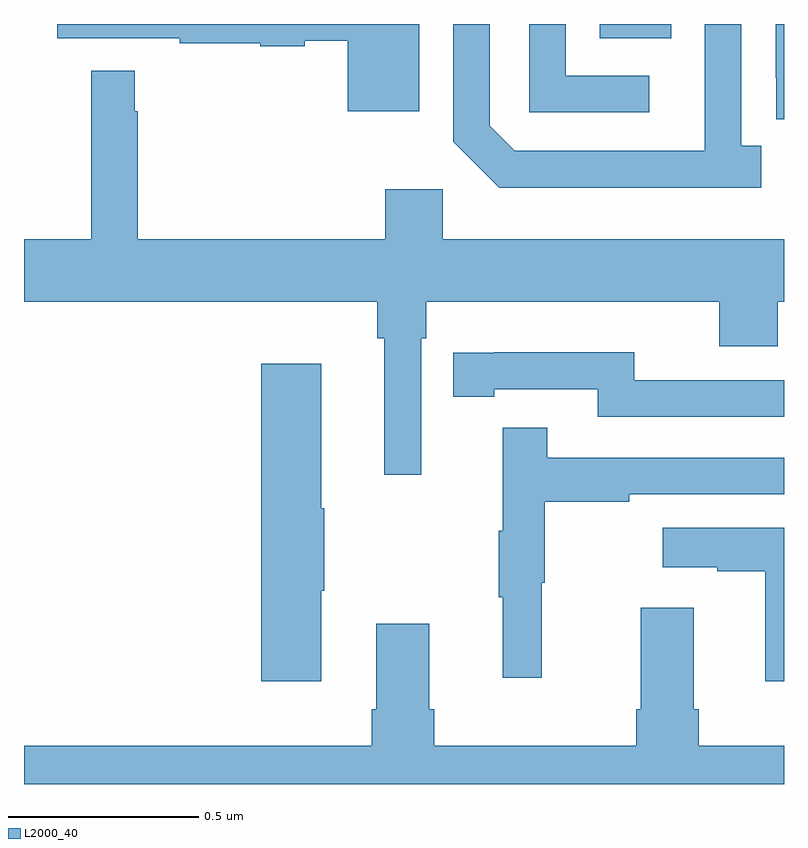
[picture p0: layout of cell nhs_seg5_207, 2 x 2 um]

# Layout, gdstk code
import gdstk
lib = gdstk.Library(unit=1e-6, precision=1e-09)
def R(c, l, rs):  # rectangles x0, y0, x1, y1
    for r in rs: c.add(gdstk.rectangle(r[:2], r[2:], *l))
def P(c, l, *ps):  # polygons
    for p in ps: c.add(gdstk.Polygon(p, *l))
L2000_40 = (2000, 40)

nhs_seg5_207 = lib.new_cell('nhs_seg5_207')
R(nhs_seg5_207, L2000_40, [(114.515,882.761,114.703,882.799)])
P(nhs_seg5_207, L2000_40, [(114.94,882.478),(114.888,882.478),(114.888,882.799),(114.792,882.799),(114.792,882.665),(114.791,882.665),(114.791,882.465),(114.291,882.465),(114.225,882.531),(114.225,882.799),(114.129,882.799),(114.129,882.489),(114.25,882.368),(114.94,882.368)],
  [(115,882.799),(114.978,882.799),(114.978,882.658),(114.979,882.658),(114.979,882.549),(115,882.549)],
  [(114.04,882.799),(113.087,882.799),(113.087,882.761),(113.41,882.761),(113.41,882.748),(113.622,882.748),(113.622,882.74),(113.739,882.74),(113.739,882.755),(113.852,882.755),(113.852,882.569),(114.04,882.569)],
  [(114.646,882.663),(114.426,882.663),(114.426,882.799),(114.33,882.799),(114.33,882.567),(114.646,882.567)],
  [(114.045,881.972),(114.059,881.972),(114.059,882.068),(114.83,882.068),(114.83,881.951),(114.983,881.951),(114.983,882.068),(115,882.068),(115,882.232),(114.102,882.232),(114.102,882.364),(113.951,882.364),(113.951,882.232),(113.299,882.232),(113.299,882.569),(113.292,882.569),(113.292,882.676),(113.177,882.676),(113.177,882.232),(113,882.232),(113,882.068),(113.929,882.068),(113.929,881.972),(113.948,881.972),(113.948,881.613),(114.045,881.613)],
  [(115,881.862),(114.606,881.862),(114.606,881.935),(114.238,881.935),(114.238,881.934),(114.13,881.934),(114.13,881.818),(114.238,881.818),(114.238,881.838),(114.51,881.838),(114.51,881.766),(115,881.766)],
  [(113.782,881.308),(113.79,881.308),(113.79,881.525),(113.782,881.525),(113.782,881.905),(113.624,881.905),(113.624,881.07),(113.782,881.07)],
  [(114.362,881.328),(114.37,881.328),(114.37,881.542),(114.593,881.542),(114.593,881.562),(115,881.562),(115,881.658),(114.377,881.658),(114.377,881.737),(114.26,881.737),(114.26,881.465),(114.249,881.465),(114.249,881.291),(114.26,881.291),(114.26,881.079),(114.362,881.079)],
  [(115,881.473),(114.681,881.473),(114.681,881.369),(114.824,881.369),(114.824,881.359),(114.95,881.359),(114.95,881.07),(115,881.07)],
  [(115,880.9),(114.776,880.9),(114.776,880.996),(114.763,880.996),(114.763,881.263),(114.623,881.263),(114.623,880.996),(114.611,880.996),(114.611,880.9),(114.08,880.9),(114.08,880.996),(114.067,880.996),(114.067,881.221),(113.927,881.221),(113.927,880.996),(113.915,880.996),(113.915,880.9),(113,880.9),(113,880.799),(115,880.799)])

lib.write_gds('nhs_seg5_207.gds')
